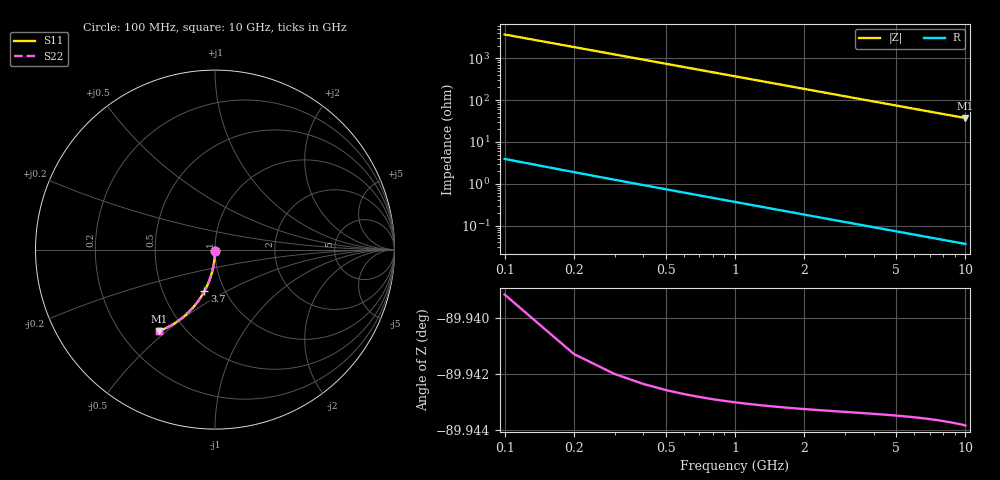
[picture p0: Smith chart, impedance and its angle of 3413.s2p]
# Hz S RI R 50.00
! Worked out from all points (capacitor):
!   100 points, 100 MHz to 10 GHz, reference 50 ohm
!   read as one part in shunt: C = 430 fF near 100 MHz
!   lowest |Z| = 37.2 ohm at 10 GHz (marker M1)
!   S11 on the Smith chart (normalised r, x): 100 MHz: 1.00, -0.01; 3.7 GHz: 0.80, -0.40; 10 GHz: 0.36, -0.47
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1e8  -3.65e-05 -0.00668  0.9999 -0.00684  0.9999 -0.00684  -3.65e-05 -0.00668
2e8  -0.00018 -0.0134  0.9998 -0.0137  0.9998 -0.0137  -0.00018 -0.0134
3e8  -0.000415 -0.02  0.9996 -0.0205  0.9996 -0.0205  -0.000415 -0.02
4e8  -0.000741 -0.0267  0.9992 -0.0273  0.9992 -0.0273  -0.000741 -0.0267
5e8  -0.00116 -0.0333  0.9988 -0.0342  0.9988 -0.0342  -0.00116 -0.0333
6e8  -0.00167 -0.04  0.9983 -0.041  0.9983 -0.041  -0.00167 -0.04
7e8  -0.00226 -0.0466  0.9977 -0.0478  0.9977 -0.0478  -0.00226 -0.0466
8e8  -0.00295 -0.0533  0.997 -0.0546  0.997 -0.0546  -0.00295 -0.0533
9e8  -0.00373 -0.0599  0.9962 -0.0613  0.9962 -0.0613  -0.00373 -0.0599
1.1e9  -0.00555 -0.073  0.9944 -0.0748  0.9944 -0.0748  -0.00555 -0.073
1.4e9  -0.00895 -0.0926  0.991 -0.0949  0.991 -0.0949  -0.00895 -0.0926
1.8e9  -0.0147 -0.1184  0.9853 -0.1213  0.9853 -0.1213  -0.0147 -0.1184
2.1e9  -0.0199 -0.1374  0.9801 -0.1408  0.9801 -0.1408  -0.0199 -0.1374
2.5e9  -0.0279 -0.1622  0.9721 -0.1663  0.9721 -0.1663  -0.0279 -0.1622
2.9e9  -0.0371 -0.1863  0.9628 -0.1911  0.9628 -0.1911  -0.0371 -0.1863
3.4e9  -0.0503 -0.2153  0.9496 -0.221  0.9496 -0.221  -0.0503 -0.2153
3.7e9  -0.059 -0.2322  0.9409 -0.2383  0.9409 -0.2383  -0.059 -0.2322
4.4e9  -0.0814 -0.2694  0.9185 -0.2767  0.9185 -0.2767  -0.0814 -0.2694
5.1e9  -0.1064 -0.3036  0.8936 -0.3121  0.8936 -0.3121  -0.1064 -0.3036
6.7e9  -0.1702 -0.3698  0.8297 -0.381  0.8297 -0.381  -0.1702 -0.3698
8.4e9  -0.2437 -0.4217  0.7562 -0.4359  0.7562 -0.4359  -0.2437 -0.4217
1e10  -0.3133 -0.4549  0.6865 -0.4719  0.6865 -0.4719  -0.3133 -0.4549
